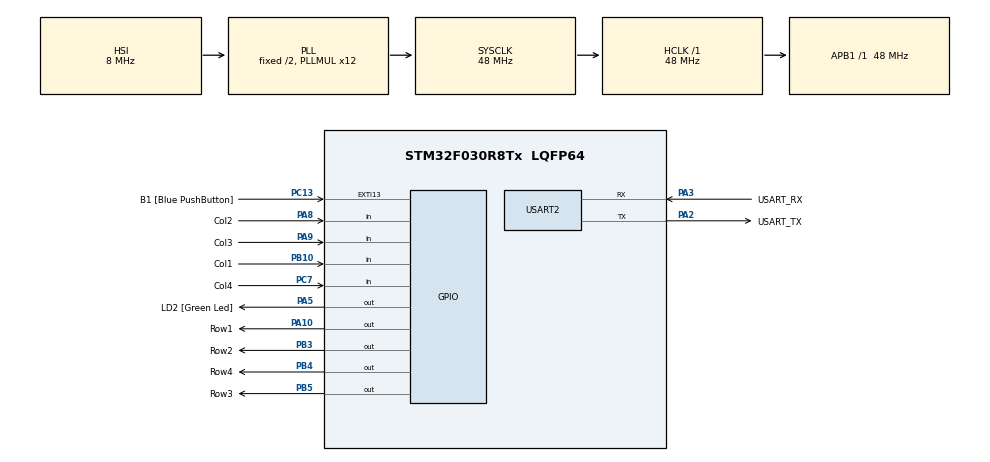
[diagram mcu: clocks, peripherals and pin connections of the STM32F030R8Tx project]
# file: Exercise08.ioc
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Mcu.Family=STM32F0
Mcu.Name=STM32F030R8Tx
Mcu.Package=LQFP64
NVIC.TIM3_IRQn=true\:0\:0\:false\:false\:true\:true\:true
PA10.GPIO_Label=Row1
PA10.GPIO_ModeDefaultOutputPP=GPIO_MODE_OUTPUT_OD
PA10.Signal=GPIO_Output
PA13.GPIO_Label=TMS
PA13.Mode=Serial_Wire
PA13.Signal=SYS_SWDIO
PA14.GPIO_Label=TCK
PA14.Mode=Serial_Wire
PA14.Signal=SYS_SWCLK
PA2.GPIO_Label=USART_TX
PA2.GPIO_Mode=GPIO_MODE_AF_PP
PA2.GPIO_PuPd=GPIO_NOPULL
PA2.GPIO_Speed=GPIO_SPEED_FREQ_LOW
PA2.Mode=Asynchronous
PA2.Signal=USART2_TX
PA3.GPIO_Label=USART_RX
PA3.GPIO_Mode=GPIO_MODE_AF_PP
PA3.GPIO_PuPd=GPIO_NOPULL
PA3.GPIO_Speed=GPIO_SPEED_FREQ_LOW
PA3.Mode=Asynchronous
PA3.Signal=USART2_RX
PA5.GPIO_Label=LD2 [Green Led]
PA5.GPIO_Mode=GPIO_MODE_OUTPUT_PP
PA5.GPIO_PuPd=GPIO_NOPULL
PA5.GPIO_Speed=GPIO_SPEED_FREQ_LOW
PA5.Signal=GPIO_Output
PA8.GPIO_Label=Col2
PA8.GPIO_PuPd=GPIO_PULLUP
PA8.Signal=GPIO_Input
PA9.GPIO_Label=Col3
PA9.GPIO_PuPd=GPIO_PULLUP
PA9.Signal=GPIO_Input
PB10.GPIO_Label=Col1
PB10.GPIO_PuPd=GPIO_PULLUP
PB10.Signal=GPIO_Input
PB3.GPIO_Label=Row2
PB3.GPIO_ModeDefaultOutputPP=GPIO_MODE_OUTPUT_OD
PB3.Signal=GPIO_Output
PB4.GPIO_Label=Row4
PB4.GPIO_ModeDefaultOutputPP=GPIO_MODE_OUTPUT_OD
PB4.Signal=GPIO_Output
PB5.GPIO_Label=Row3
PB5.GPIO_ModeDefaultOutputPP=GPIO_MODE_OUTPUT_OD
PB5.Signal=GPIO_Output
PC13.GPIO_Label=B1 [Blue PushButton]
PC13.GPIO_ModeDefaultEXTI=GPIO_MODE_IT_FALLING
PC13.Signal=GPXTI13
PC14-OSC32_IN.Mode=LSE-External-Oscillator
PC14-OSC32_IN.Signal=RCC_OSC32_IN
PC15-OSC32_OUT.Mode=LSE-External-Oscillator
PC15-OSC32_OUT.Signal=RCC_OSC32_OUT
PC7.GPIO_Label=Col4
PC7.GPIO_PuPd=GPIO_PULLUP
PC7.Signal=GPIO_Input
PF0-OSC_IN.Mode=HSE-External-Clock-Source
PF0-OSC_IN.Signal=RCC_OSC_IN
PF1-OSC_OUT.Signal=RCC_OSC_OUT
ProjectManager.HeapSize=0x200
ProjectManager.StackSize=0x400
ProjectManager.TargetToolchain=STM32CubeIDE
RCC.AHBFreq_Value=48000000
RCC.APB1Freq_Value=48000000
RCC.APB1TimFreq_Value=48000000
RCC.HCLKFreq_Value=48000000
RCC.PLLMUL=RCC_PLL_MUL12
RCC.SYSCLKFreq_VALUE=48000000
RCC.SYSCLKSource=RCC_SYSCLKSOURCE_PLLCLK
TIM3.AutoReloadPreload=TIM_AUTORELOAD_PRELOAD_ENABLE
TIM3.Period=99
TIM3.Prescaler=4799
USART2.VirtualMode-Asynchronous=VM_ASYNC
VP_TIM3_VS_ClockSourceINT.Mode=Internal
board=NUCLEO-F030R8

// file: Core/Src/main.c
/* USER CODE BEGIN Header */
/**
  ******************************************************************************
  * @file           : main.c
  * @brief          : Main program body
  ******************************************************************************
  * @attention
  *
  * <h2><center>&copy; Copyright (c) 2020 STMicroelectronics.
  * All rights reserved.</center></h2>
  *
  * This software component is licensed by ST under BSD 3-Clause license,
  * the "License"; You may not use this file except in compliance with the
  * License. You may obtain a copy of the License at:
  *                        opensource.org/licenses/BSD-3-Clause
  *
  ******************************************************************************
  */
/* USER CODE END Header */
#include "main.h"

/* USER CODE BEGIN Includes */
#include<stdio.h>
/* USER CODE END Includes */

/* USER CODE BEGIN PD */
#define time_limit 3000
/* USER CODE END PD */

TIM_HandleTypeDef htim3;

UART_HandleTypeDef huart2;

/* USER CODE BEGIN PV */
static volatile int8_t key = -1 ;

/* USER CODE END PV */

void SystemClock_Config(void);
static void MX_GPIO_Init(void);
static void MX_USART2_UART_Init(void);
static void MX_TIM3_Init(void);

/* USER CODE BEGIN 0 */

int _write(int file, char const *buf, int n)
 {
 	 /* stdout redirection to UART2 */
 	 HAL_UART_Transmit(&huart2, (uint8_t*)(buf), n, HAL_MAX_DELAY);
 	 return n;
 }

void HAL_TIM_PeriodElapsedCallback(TIM_HandleTypeDef *htim)
{

	 static int row = 0;
	 static const int keyboard[4][4] = {
	 { 1, 2, 3, 21 },
	 { 4, 5, 6, 22 },
	 { 7, 8, 9, 23 },
	 { 11, 0, 12, 24 },
	 };
	 if (key == -1) {
		 if (HAL_GPIO_ReadPin(Col1_GPIO_Port, Col1_Pin) == GPIO_PIN_RESET) key = keyboard[row][0];
		 if (HAL_GPIO_ReadPin(Col2_GPIO_Port, Col2_Pin) == GPIO_PIN_RESET) key = keyboard[row][1];
		 if (HAL_GPIO_ReadPin(Col3_GPIO_Port, Col3_Pin) == GPIO_PIN_RESET) key = keyboard[row][2];
		 if (HAL_GPIO_ReadPin(Col4_GPIO_Port, Col4_Pin) == GPIO_PIN_RESET) key = keyboard[row][3];

	 }
	 HAL_GPIO_WritePin(Row1_GPIO_Port, Row1_Pin, GPIO_PIN_SET);
	 HAL_GPIO_WritePin(Row2_GPIO_Port, Row2_Pin, GPIO_PIN_SET);
	 HAL_GPIO_WritePin(Row3_GPIO_Port, Row3_Pin, GPIO_PIN_SET);
	 HAL_GPIO_WritePin(Row4_GPIO_Port, Row4_Pin, GPIO_PIN_SET);
	 switch (row) {
		 case 0:
			 row = 1;
			 HAL_GPIO_WritePin(Row2_GPIO_Port, Row2_Pin, GPIO_PIN_RESET);
			 break;
		 case 1:
			 row = 2;
			 HAL_GPIO_WritePin(Row3_GPIO_Port, Row3_Pin, GPIO_PIN_RESET);
			 break;
		 case 2:
			 row = 3;
			 HAL_GPIO_WritePin(Row4_GPIO_Port,Row4_Pin,GPIO_PIN_RESET);
			 break;
		 case 3:
			 row = 0;
			 HAL_GPIO_WritePin(Row1_GPIO_Port,Row1_Pin, GPIO_PIN_RESET);
			 break;
	 }
}

/* USER CODE END 0 */

int main(void)
{

  /* MCU Configuration--------------------------------------------------------*/

  /* Reset of all peripherals, Initializes the Flash interface and the Systick. */
  HAL_Init();

  /* Configure the system clock */
  SystemClock_Config();

  /* Initialize all configured peripherals */
  MX_GPIO_Init();
  MX_USART2_UART_Init();
  MX_TIM3_Init();
  /* USER CODE BEGIN 2 */

  HAL_TIM_Base_Start_IT(&htim3);
  static int position = 0;
  static const int pin [] = {7,9,3,2,12};
  uint32_t timeout = HAL_GetTick();

  /* USER CODE END 2 */

  /* Infinite loop */
  while (1)
  {

    /* USER CODE BEGIN 3 */
		  if(key != -1){
			  if(key == pin[position]) {
				  printf("code: %d   position: %d\n",key,position);
				  if(HAL_GetTick() < timeout  + time_limit ){
					  position++;
					  timeout = HAL_GetTick();
				  }
				  else{
					  position = 0;
				  }
			  }
			  else {
				  position = 0;
			  }
			  if (position == 4 ){
					  HAL_GPIO_TogglePin(LD2_GPIO_Port, LD2_Pin);
					  position = 0;
				  }
			  key = -1;
		  }
	  }

/*	  HAL_GPIO_TogglePin(LD2_GPIO_Port, LD2_Pin);
	  HAL_Delay(250);*/
  }
  /* USER CODE END 3 */

void SystemClock_Config(void)
{
  RCC_OscInitTypeDef RCC_OscInitStruct = {0};
  RCC_ClkInitTypeDef RCC_ClkInitStruct = {0};

  /** Initializes the RCC Oscillators according to the specified parameters
  * in the RCC_OscInitTypeDef structure.
  */
  RCC_OscInitStruct.OscillatorType = RCC_OSCILLATORTYPE_HSI;
  RCC_OscInitStruct.HSIState = RCC_HSI_ON;
  RCC_OscInitStruct.HSICalibrationValue = RCC_HSICALIBRATION_DEFAULT;
  RCC_OscInitStruct.PLL.PLLState = RCC_PLL_ON;
  RCC_OscInitStruct.PLL.PLLSource = RCC_PLLSOURCE_HSI;
  RCC_OscInitStruct.PLL.PLLMUL = RCC_PLL_MUL12;
  RCC_OscInitStruct.PLL.PREDIV = RCC_PREDIV_DIV1;
  if (HAL_RCC_OscConfig(&RCC_OscInitStruct) != HAL_OK)
  {
    Error_Handler();
  }
  /** Initializes the CPU, AHB and APB buses clocks
  */
  RCC_ClkInitStruct.ClockType = RCC_CLOCKTYPE_HCLK|RCC_CLOCKTYPE_SYSCLK
                              |RCC_CLOCKTYPE_PCLK1;
  RCC_ClkInitStruct.SYSCLKSource = RCC_SYSCLKSOURCE_PLLCLK;
  RCC_ClkInitStruct.AHBCLKDivider = RCC_SYSCLK_DIV1;
  RCC_ClkInitStruct.APB1CLKDivider = RCC_HCLK_DIV1;

  if (HAL_RCC_ClockConfig(&RCC_ClkInitStruct, FLASH_LATENCY_1) != HAL_OK)
  {
    Error_Handler();
  }
}

static void MX_TIM3_Init(void)
{

  TIM_ClockConfigTypeDef sClockSourceConfig = {0};
  TIM_MasterConfigTypeDef sMasterConfig = {0};

  htim3.Instance = TIM3;
  htim3.Init.Prescaler = 4799;
  htim3.Init.CounterMode = TIM_COUNTERMODE_UP;
  htim3.Init.Period = 99;
  htim3.Init.ClockDivision = TIM_CLOCKDIVISION_DIV1;
  htim3.Init.AutoReloadPreload = TIM_AUTORELOAD_PRELOAD_ENABLE;
  if (HAL_TIM_Base_Init(&htim3) != HAL_OK)
  {
    Error_Handler();
  }
  sClockSourceConfig.ClockSource = TIM_CLOCKSOURCE_INTERNAL;
  if (HAL_TIM_ConfigClockSource(&htim3, &sClockSourceConfig) != HAL_OK)
  {
    Error_Handler();
  }
  sMasterConfig.MasterOutputTrigger = TIM_TRGO_RESET;
  sMasterConfig.MasterSlaveMode = TIM_MASTERSLAVEMODE_DISABLE;
  if (HAL_TIMEx_MasterConfigSynchronization(&htim3, &sMasterConfig) != HAL_OK)
  {
    Error_Handler();
  }

}

static void MX_USART2_UART_Init(void)
{

  huart2.Instance = USART2;
  huart2.Init.BaudRate = 38400;
  huart2.Init.WordLength = UART_WORDLENGTH_8B;
  huart2.Init.StopBits = UART_STOPBITS_1;
  huart2.Init.Parity = UART_PARITY_NONE;
  huart2.Init.Mode = UART_MODE_TX_RX;
  huart2.Init.HwFlowCtl = UART_HWCONTROL_NONE;
  huart2.Init.OverSampling = UART_OVERSAMPLING_16;
  huart2.Init.OneBitSampling = UART_ONE_BIT_SAMPLE_DISABLE;
  huart2.AdvancedInit.AdvFeatureInit = UART_ADVFEATURE_NO_INIT;
  if (HAL_UART_Init(&huart2) != HAL_OK)
  {
    Error_Handler();
  }

}

static void MX_GPIO_Init(void)
{
  GPIO_InitTypeDef GPIO_InitStruct = {0};

  /* GPIO Ports Clock Enable */
  __HAL_RCC_GPIOC_CLK_ENABLE();
  __HAL_RCC_GPIOF_CLK_ENABLE();
  __HAL_RCC_GPIOA_CLK_ENABLE();
  __HAL_RCC_GPIOB_CLK_ENABLE();

  /*Configure GPIO pin Output Level */
  HAL_GPIO_WritePin(GPIOA, LD2_Pin|Row1_Pin, GPIO_PIN_RESET);

  /*Configure GPIO pin Output Level */
  HAL_GPIO_WritePin(GPIOB, Row2_Pin|Row4_Pin|Row3_Pin, GPIO_PIN_RESET);

  /*Configure GPIO pin : B1_Pin */
  GPIO_InitStruct.Pin = B1_Pin;
  GPIO_InitStruct.Mode = GPIO_MODE_IT_FALLING;
  GPIO_InitStruct.Pull = GPIO_NOPULL;
  HAL_GPIO_Init(B1_GPIO_Port, &GPIO_InitStruct);

  /*Configure GPIO pin : LD2_Pin */
  GPIO_InitStruct.Pin = LD2_Pin;
  GPIO_InitStruct.Mode = GPIO_MODE_OUTPUT_PP;
  GPIO_InitStruct.Pull = GPIO_NOPULL;
  GPIO_InitStruct.Speed = GPIO_SPEED_FREQ_LOW;
  HAL_GPIO_Init(LD2_GPIO_Port, &GPIO_InitStruct);

  /*Configure GPIO pin : Col1_Pin */
  GPIO_InitStruct.Pin = Col1_Pin;
  GPIO_InitStruct.Mode = GPIO_MODE_INPUT;
  GPIO_InitStruct.Pull = GPIO_PULLUP;
  HAL_GPIO_Init(Col1_GPIO_Port, &GPIO_InitStruct);

  /*Configure GPIO pin : Col4_Pin */
  GPIO_InitStruct.Pin = Col4_Pin;
  GPIO_InitStruct.Mode = GPIO_MODE_INPUT;
  GPIO_InitStruct.Pull = GPIO_PULLUP;
  HAL_GPIO_Init(Col4_GPIO_Port, &GPIO_InitStruct);

  /*Configure GPIO pins : Col2_Pin Col3_Pin */
  GPIO_InitStruct.Pin = Col2_Pin|Col3_Pin;
  GPIO_InitStruct.Mode = GPIO_MODE_INPUT;
  GPIO_InitStruct.Pull = GPIO_PULLUP;
  HAL_GPIO_Init(GPIOA, &GPIO_InitStruct);

  /*Configure GPIO pin : Row1_Pin */
  GPIO_InitStruct.Pin = Row1_Pin;
  GPIO_InitStruct.Mode = GPIO_MODE_OUTPUT_OD;
  GPIO_InitStruct.Pull = GPIO_NOPULL;
  GPIO_InitStruct.Speed = GPIO_SPEED_FREQ_LOW;
  HAL_GPIO_Init(Row1_GPIO_Port, &GPIO_InitStruct);

  /*Configure GPIO pins : Row2_Pin Row4_Pin Row3_Pin */
  GPIO_InitStruct.Pin = Row2_Pin|Row4_Pin|Row3_Pin;
  GPIO_InitStruct.Mode = GPIO_MODE_OUTPUT_OD;
  GPIO_InitStruct.Pull = GPIO_NOPULL;
  GPIO_InitStruct.Speed = GPIO_SPEED_FREQ_LOW;
  HAL_GPIO_Init(GPIOB, &GPIO_InitStruct);

}

void Error_Handler(void)
{
}

/************************ (C) COPYRIGHT STMicroelectronics *****END OF FILE****/
